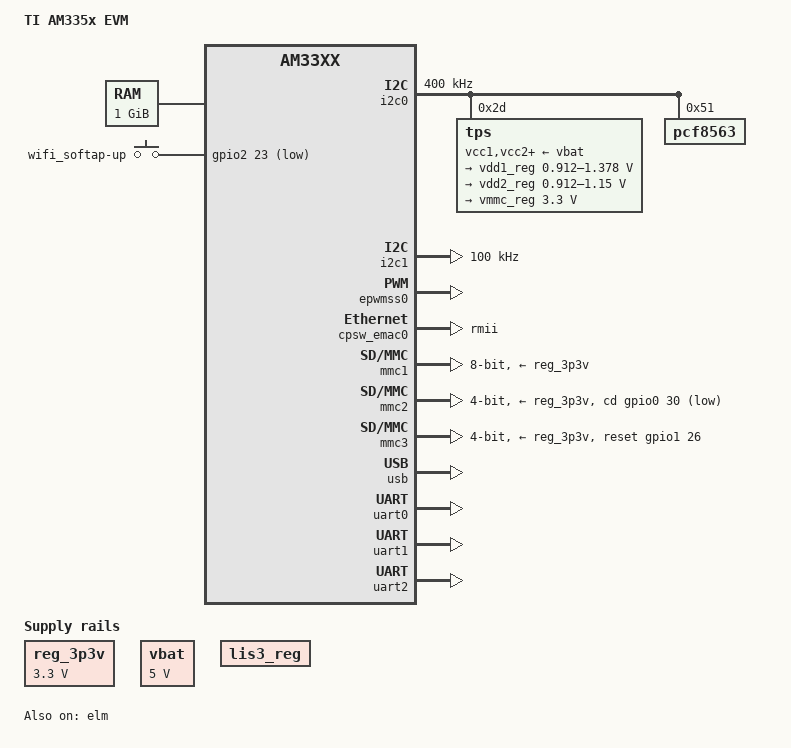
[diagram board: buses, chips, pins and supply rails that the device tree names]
/*
 * Copyright (C) 2012 Texas Instruments Incorporated - http://www.ti.com/
 *
 * This program is free software; you can redistribute it and/or modify
 * it under the terms of the GNU General Public License version 2 as
 * published by the Free Software Foundation.
 */
/dts-v1/;

#include "am33xx.dtsi"

/ {
	model = "TI AM335x EVM";
	compatible = "ti,am335x-evm", "ti,am33xx";

	memory {
		device_type = "memory";
		reg = <0x80000000 0x40000000>; /* 1024MB */
	};

	regulators {
		compatible = "simple-bus";

		reg_3p3v: 3p3v {
			  compatible = "regulator-fixed";
			  regulator-name = "reg_3p3v";
			  regulator-min-microvolt = <3300000>;
			  regulator-max-microvolt = <3300000>;
			  regulator-always-on;
		};
	};	

	am33xx_pinmux: pinmux@44e10800 {
		pinctrl-names = "default";
		pinctrl-0 = <&user_gpios &wifi_sw_ap_key &clkout2_pin>;

        user_gpios: user_gpios {
            pinctrl-single,pins = < 
                0xE0  (PIN_OUTPUT_PULLDOWN | MUX_MODE7)  /* lcd_vsync.gpio2_22 : WIFI_LED   */
                0x6C  (PIN_INPUT_PULLDOWN  | MUX_MODE7)  /* gpmc_a11.gpio1_27  : CPU_SUB1GHZ_GPIO */
                0x168 (PIN_OUTPUT_PULLUP   | MUX_MODE7)  /* uart0_ctsn.gpio1_8 : SUB1GHZ_RST */
 				0x40  (PIN_OUTPUT_PULLUP   | MUX_MODE7)  /* gpmc_a0.gpio1_16   : ZB_RESET  */
            >;
        };

		wifi_sw_ap_key: wifi_sw_ap_key {
			pinctrl-single,pins = <
                0xE4  (PIN_INPUT_PULLDOWN  | MUX_MODE7)  /* lcd_hsync.gpio2_23 : WIFI_SW_AP */
			>;
		};

        i2c0_pins: pinmux_i2c0_pins {
			pinctrl-single,pins = <
				0x188 (PIN_INPUT_PULLUP | MUX_MODE0)	/* i2c0_sda.i2c0_sda */
				0x18c (PIN_INPUT_PULLUP | MUX_MODE0)	/* i2c0_scl.i2c0_scl */
			>;
		};

		i2c1_pins: pinmux_i2c1_pins {
			pinctrl-single,pins = <
				0x158 (PIN_INPUT_PULLUP | MUX_MODE2)	/* spi0_d1.i2c1_sda */
				0x15c (PIN_INPUT_PULLUP | MUX_MODE2)	/* spi0_cs0.i2c1_scl */
			>;
		};

		uart0_pins: pinmux_uart0_pins {
			pinctrl-single,pins = <
				0x170 (PIN_INPUT_PULLUP    | MUX_MODE0)	/* uart0_rxd.uart0_rxd */
				0x174 (PIN_OUTPUT          | MUX_MODE0)	/* uart0_txd.uart0_txd */
			>;
		};

		uart1_pins: pinmux_uart1_pins {
			pinctrl-single,pins = <
				0x180 (PIN_INPUT_PULLUP    | MUX_MODE0)	/* uart1_rxd.uart1_rxd */
				0x184 (PIN_OUTPUT          | MUX_MODE0) /* uart1_txd.uart1_txd */
			>;
		};
		uart2_pins: pinmux_uart2_pins {
			pinctrl-single,pins = <
				0x150 (PIN_INPUT_PULLUP    | MUX_MODE1)	/* spi0_sclk.uart2_rxd */
				0x154 (PIN_OUTPUT          | MUX_MODE1) /* spi0_d0.uart2_txd */
			>;
		};

		uart3_pins: pinmux_uart3_pins {
			pinctrl-single,pins = <
				0x160 (PIN_INPUT_PULLUP    | MUX_MODE1)	/* spi0_cs1.uart3_rxd */
				0x164 (PIN_OUTPUT          | MUX_MODE1) /* ecap0_in_pwm0_out.uart3_txd */
			>;
		};

		uart4_pins: pinmux_uart4_pins {
			pinctrl-single,pins = <
				0x64  (PIN_OUTPUT_PULLDOWN | MUX_MODE7)	/* gpmc_a9.gpio1_25 : RTS */
				0x11C (PIN_INPUT_PULLUP    | MUX_MODE3)	/* mii1_txd3.uart4_rxd */
				0x120 (PIN_OUTPUT          | MUX_MODE3) /* mii1_txd2.uart4_txd */
			>;
		};

		uart5_pins: pinmux_uart5_pins {
			pinctrl-single,pins = <
				0x108 (PIN_INPUT_PULLUP    | MUX_MODE3)	/* mii1_col.uart5_rxd */
				0x118 (PIN_OUTPUT          | MUX_MODE3) /* mii1_rx_dv.uart5_txd */
			>;
		};

		clkout2_pin: pinmux_clkout2_pin {
			pinctrl-single,pins = <
				0x1b4 (PIN_OUTPUT_PULLDOWN | MUX_MODE3)	/* xdma_event_intr1.clkout2 */
			>;
		};

		nandflash_pins_s0: nandflash_pins_s0 {
			pinctrl-single,pins = <
				0x0 (PIN_INPUT_PULLUP  | MUX_MODE0)	/* gpmc_ad0.gpmc_ad0 */
				0x4 (PIN_INPUT_PULLUP  | MUX_MODE0)	/* gpmc_ad1.gpmc_ad1 */
				0x8 (PIN_INPUT_PULLUP  | MUX_MODE0)	/* gpmc_ad2.gpmc_ad2 */
				0xc (PIN_INPUT_PULLUP  | MUX_MODE0)	/* gpmc_ad3.gpmc_ad3 */
				0x10 (PIN_INPUT_PULLUP | MUX_MODE0)	/* gpmc_ad4.gpmc_ad4 */
				0x14 (PIN_INPUT_PULLUP | MUX_MODE0)	/* gpmc_ad5.gpmc_ad5 */
				0x18 (PIN_INPUT_PULLUP | MUX_MODE0)	/* gpmc_ad6.gpmc_ad6 */
				0x1c (PIN_INPUT_PULLUP | MUX_MODE0)	/* gpmc_ad7.gpmc_ad7 */
				0x70 (PIN_INPUT_PULLUP | MUX_MODE0)	/* gpmc_wait0.gpmc_wait0 */
				0x74 (PIN_INPUT_PULLUP | MUX_MODE7)	/* gpmc_wpn.gpio0_30 */
				0x7c (PIN_OUTPUT       | MUX_MODE0)	/* gpmc_csn0.gpmc_csn0  */
				0x90 (PIN_OUTPUT       | MUX_MODE0)	/* gpmc_advn_ale.gpmc_advn_ale */
				0x94 (PIN_OUTPUT       | MUX_MODE0)	/* gpmc_oen_ren.gpmc_oen_ren */
				0x98 (PIN_OUTPUT       | MUX_MODE0)	/* gpmc_wen.gpmc_wen */
				0x9c (PIN_OUTPUT       | MUX_MODE0)	/* gpmc_be0n_cle.gpmc_be0n_cle */
			>;
		};

		cpsw_default: cpsw_default {
			pinctrl-single,pins = < 
				/* Slave 1 */
				0x10c (PIN_INPUT_PULLDOWN  | MUX_MODE1) /* mii1_crs.rmii1_crs */
				0x110 (PIN_INPUT_PULLUP    | MUX_MODE1) /* mii1_rxerr.rmii1_rxerr */
				0x114 (PIN_OUTPUT_PULLDOWN | MUX_MODE1) /* mii1_txen.rmii1_txen */
				0x124 (PIN_OUTPUT_PULLDOWN | MUX_MODE1) /* mii1_txd1.rmii1_txd1 */
				0x128 (PIN_OUTPUT_PULLDOWN | MUX_MODE1) /* mii1_txd0.rmii1_txd0 */
				0x13c (PIN_INPUT_PULLUP    | MUX_MODE1) /* mii1_rxd1.rmii1_rxd1 */
				0x140 (PIN_INPUT_PULLUP    | MUX_MODE1) /* mii1_rxd0.rmii1_rxd0 */
				0x144 (PIN_INPUT_PULLDOWN  | MUX_MODE0) /* rmii1_ref_clk.rmii_ref_clk */
				0x78  (PIN_OUTPUT_PULLUP   | MUX_MODE7) /* gpmc_ben1.gpio1_28 : RESET */
			>;
		};

		cpsw_sleep: cpsw_sleep {
			pinctrl-single,pins = < 
				/* Slave 1 reset value */
				0x10c (PIN_INPUT_PULLDOWN | MUX_MODE7)
				0x110 (PIN_INPUT_PULLDOWN | MUX_MODE7)
				0x114 (PIN_INPUT_PULLDOWN | MUX_MODE7)
				0x118 (PIN_INPUT_PULLDOWN | MUX_MODE7)
				0x124 (PIN_INPUT_PULLDOWN | MUX_MODE7)
				0x128 (PIN_INPUT_PULLDOWN | MUX_MODE7)
				0x13c (PIN_INPUT_PULLDOWN | MUX_MODE7)
				0x140 (PIN_INPUT_PULLDOWN | MUX_MODE7)
				0x144 (PIN_INPUT_PULLDOWN | MUX_MODE7)
				0x78  (PIN_INPUT_PULLDOWN | MUX_MODE7)
			>;
		};

		davinci_mdio_default: davinci_mdio_default {
			pinctrl-single,pins = <
				/* MDIO */
				0x148 (PIN_INPUT_PULLUP  | SLEWCTRL_FAST | MUX_MODE0)	/* mdio_data.mdio_data */
				0x14c (PIN_OUTPUT_PULLUP | MUX_MODE0)			        /* mdio_clk.mdio_clk   */
			>;
		};

		davinci_mdio_sleep: davinci_mdio_sleep {
			pinctrl-single,pins = <
				/* MDIO reset value */
				0x148 (PIN_INPUT_PULLDOWN | MUX_MODE7)
				0x14c (PIN_INPUT_PULLDOWN | MUX_MODE7)
			>;
		};

		mmc1_pins_default: pinmux_mmc1_pins {
			pinctrl-single,pins = <
				0x0F0 (PIN_INPUT_PULLUP | MUX_MODE0)    /* mmc0_dat3.mmc0_dat3 */
				0x0F4 (PIN_INPUT_PULLUP | MUX_MODE0)    /* mmc0_dat2.mmc0_dat2 */
				0x0F8 (PIN_INPUT_PULLUP | MUX_MODE0)    /* mmc0_dat1.mmc0_dat1 */
				0x0FC (PIN_INPUT_PULLUP | MUX_MODE0)    /* mmc0_dat0.mmc0_dat0 */
				0x100 (PIN_INPUT_PULLUP | MUX_MODE0)    /* mmc0_clk.mmc0_clk */
				0x104 (PIN_INPUT_PULLUP | MUX_MODE0)    /* mmc0_cmd.mmc0_cmd */
				0x190 (PIN_INPUT_PULLUP | MUX_MODE7) 	/* mcasp0_aclkx.gpio3_14 */
			>;
		};

		mmc1_pins_sleep: pinmux_mmc1_pins_sleep {
			pinctrl-single,pins = <
				0x0F0 (PIN_INPUT_PULLDOWN | MUX_MODE7)
				0x0F4 (PIN_INPUT_PULLDOWN | MUX_MODE7)
				0x0F8 (PIN_INPUT_PULLDOWN | MUX_MODE7)
				0x0FC (PIN_INPUT_PULLDOWN | MUX_MODE7)
				0x100 (PIN_INPUT_PULLDOWN | MUX_MODE7)
				0x104 (PIN_INPUT_PULLUP   | MUX_MODE7)    /* mmc0_cmd.mmc0_cmd */
				0x190 (PIN_INPUT_PULLDOWN | MUX_MODE7)
			>;
		};

		mmc2_pins_default: pinmux_mmc2_pins {
			pinctrl-single,pins = <
				0x000 (PIN_INPUT_PULLUP | MUX_MODE1)    /* GPMC_AD0.mmc1_dat0 */
				0x004 (PIN_INPUT_PULLUP | MUX_MODE1)    /* GPMC_AD1.mmc1_dat1 */
				0x008 (PIN_INPUT_PULLUP | MUX_MODE1)    /* GPMC_AD2.mmc1_dat2 */
				0x00c (PIN_INPUT_PULLUP | MUX_MODE1)    /* GPMC_AD3.mmc1_dat3 */
				0x080 (PIN_INPUT_PULLUP | MUX_MODE2)    /* GPMC_CSn1.mmc1_clk */
				0x084 (PIN_INPUT_PULLUP | MUX_MODE2)    /* GPMC_CSn2.mmc1_cmd */
				0x070 (PIN_INPUT        | MUX_MODE7)    /* GPMC_WAIT0.gpio0_30 */
			>;
		};

		mmc2_pins_sleep: pinmux_mmc2_pins_sleep {
			pinctrl-single,pins = <
				0x000 (PIN_INPUT_PULLDOWN | MUX_MODE7)
				0x004 (PIN_INPUT_PULLDOWN | MUX_MODE7)
				0x008 (PIN_INPUT_PULLDOWN | MUX_MODE7)
				0x00c (PIN_INPUT_PULLDOWN | MUX_MODE7)
				0x080 (PIN_INPUT_PULLDOWN | MUX_MODE7)
				0x084 (PIN_INPUT_PULLDOWN | MUX_MODE7)
			>;
		};

		mmc3_pins_default: pinmux_mmc3_pins {
			pinctrl-single,pins = <
				0x030 (PIN_INPUT_PULLUP | MUX_MODE3)    /* GPMC_AD12.mmc2_dat0 */
				0x034 (PIN_INPUT_PULLUP | MUX_MODE3)    /* GPMC_AD13.mmc2_dat1 */
				0x038 (PIN_INPUT_PULLUP | MUX_MODE3)    /* GPMC_AD14.mmc2_dat2 */
				0x03C (PIN_INPUT_PULLUP | MUX_MODE3)    /* GPMC_AD15.mmc2_dat3 */
				0x088 (PIN_INPUT_PULLUP | MUX_MODE3)    /* GPMC_CSn3.mmc2_cmd */
				0x08C (PIN_INPUT_PULLUP | MUX_MODE3)    /* GPMC_CLK.mmc2_clk */
			>;
		};

		mmc3_pins_sleep: pinmux_mmc3_pins_sleep {
			pinctrl-single,pins = <
				0x030 (PIN_INPUT_PULLUP | MUX_MODE7)    /* GPMC_AD12.mmc2_dat0 */
				0x034 (PIN_INPUT_PULLUP | MUX_MODE7)    /* GPMC_AD13.mmc2_dat1 */
				0x038 (PIN_INPUT_PULLUP | MUX_MODE7)    /* GPMC_AD14.mmc2_dat2 */
				0x03C (PIN_INPUT_PULLUP | MUX_MODE7)    /* GPMC_AD15.mmc2_dat3 */
				0x088 (PIN_INPUT_PULLUP | MUX_MODE7)    /* GPMC_CSn3.mmc2_cmd */
				0x08C (PIN_INPUT_PULLUP | MUX_MODE7)    /* GPMC_CLK.mmc2_clk */
			>;
		};

		/* Wlan Reset GPIO. */
		wlan_pins_default: pinmux_wlan_pins_default {
			pinctrl-single,pins = <
				0x068 (PIN_OUTPUT_PULLUP   | MUX_MODE7)  /* GPMC_A10.gpio1_26*/
			>;
		};

		wlan_pins_sleep: pinmux_wlan_pins_sleep {
			pinctrl-single,pins = <
				0x068 (PIN_OUTPUT_PULLDOWN   | MUX_MODE7)  /* GPMC_A10.gpio1_26*/
				>;
		};
	};

	ocp {
		vbat: fixedregulator@0 {
			compatible = "regulator-fixed";
			regulator-name = "vbat";
			regulator-min-microvolt = <5000000>;
			regulator-max-microvolt = <5000000>;
			regulator-boot-on;
		};

		lis3_reg: fixedregulator@1 {
			compatible = "regulator-fixed";
			regulator-name = "lis3_reg";
			regulator-boot-on;
		};

		gpio_keys: volume_keys@0 {
			compatible = "gpio-keys";
			#address-cells = <1>;
			#size-cells = <0>;
			autorepeat;

			switch@0 {
				label = "wifi_softap-up";
				linux,code = <115>;
				gpios = <&gpio2 23 GPIO_ACTIVE_LOW>;
				gpio-key,wakeup;
			};
		};
	};
};

/*
&i2c0 {
	pinctrl-names = "default";
	pinctrl-0 = <&i2c0_pins>;
	status = "okay";
	clock-frequency = <400000>;

	pcf8563: rtc@51 {
		compatible = "pcf8563";
		reg = <0x51>;
	};            
};
*/

&i2c0 {
    pinctrl-names = "default";
    pinctrl-0 = <&i2c0_pins>;
    status = "okay";
    clock-frequency = <400000>;

    tps: tps@2d {
        reg = <0x2d>;
    };  

    pcf8563: rtc@51 {
        compatible = "pcf8563";
        reg = <0x51>;
    };    
};

&i2c1 {
	pinctrl-names = "default";
	pinctrl-0 = <&i2c1_pins>;
	status = "okay";
	clock-frequency = <100000>;
};

&elm {
	status = "okay";
};

&epwmss0 {
	status = "okay";
};

&mac {
	slaves = <1>;
	pinctrl-names = "default", "sleep";
	pinctrl-0 = <&cpsw_default>;
	pinctrl-1 = <&cpsw_sleep>;
};

&davinci_mdio {
	pinctrl-names = "default", "sleep";
	pinctrl-0 = <&davinci_mdio_default>;
	pinctrl-1 = <&davinci_mdio_sleep>;
};

&cpsw_emac0 {
	phy_id = <&davinci_mdio>, <0>;
	phy-mode = "rmii";
};

&phy_sel {
    rmii-clock-ext;
};

&mmc1 {
	status = "okay";
	vmmc-supply = <&reg_3p3v>;
/*	vmmc-supply = <&vmmc_reg>;	*/
	bus-width = <8>;
	pinctrl-names = "default";
	pinctrl-0 = <&mmc1_pins_default>;
	ti,vcc-aux-disable-is-sleep;
	keep-power-in-suspend;
};

&mmc2 {
	status = "okay";
	vmmc-supply = <&reg_3p3v>;
/*	vmmc-supply = <&vmmc_reg>;	*/
	bus-width = <4>;
	pinctrl-names = "default";
	pinctrl-0 = <&mmc2_pins_default>;
	pinctrl-1 = <&mmc2_pins_sleep>;
	cd-gpios = <&gpio0 30 GPIO_ACTIVE_HIGH>;
	cd-inverted;
	ti,vcc-aux-disable-is-sleep;
	keep-power-in-suspend;
};

&mmc3 {
	status = "okay";
	vmmc-supply = <&reg_3p3v>; 
/*	vmmc-supply = <&vmmc_reg>;	*/

	dmas = <&edma 12
			&edma 13>;
	dma-names = "tx", "rx";
	bus-width = <4>;
	pinctrl-names = "default", "sleep";
	pinctrl-0 = <&mmc3_pins_default &wlan_pins_default>;
	pinctrl-1 = <&mmc3_pins_sleep &wlan_pins_sleep>;
	reset-gpio = <&gpio1 26 GPIO_ACTIVE_HIGH>;
	enable-active-high;
	ti,non-removable;
	ti,needs-special-hs-handling;
	cap-power-off-card;
/*	ti,vcc-aux-disable-is-sleep;	*/
	keep-power-in-suspend;
};

&usb {
    status = "okay";

    control@44e10620 {
        status = "okay";
    };  

    usb-phy@47401300 {
        status = "okay";
    };  

    usb-phy@47401b00 {
        status = "okay";
    };  

    usb@47401000 {
        status = "okay";
        dr_mode = "host";
    };  

    usb@47401800 {
        status = "okay";
        dr_mode = "host";
    };  

    dma-controller@47402000  {
        status = "okay";
    };  
};

&uart0 {
	pinctrl-names = "default";
	pinctrl-0 = <&uart0_pins>;
	status = "okay";
};

&uart1 {
	pinctrl-names = "default";
	pinctrl-0 = <&uart1_pins>;
	status = "okay";
};

&uart2 {
	pinctrl-names = "default";
	pinctrl-0 = <&uart2_pins>;
	status = "okay";
};

/*
&wkup_m3 {
	ti,scale-data-fw = "am335x-evm-scale-data.bin";
};
*/

&edma {
	ti,edma-xbar-event-map = /bits/ 16 <1 12
				                      2 13>;
};

#include "tps65910.dtsi"

&tps {
	vcc1-supply = <&vbat>;
	vcc2-supply = <&vbat>;
	vcc3-supply = <&vbat>;
	vcc4-supply = <&vbat>;
	vcc5-supply = <&vbat>;
	vcc6-supply = <&vbat>;
	vcc7-supply = <&vbat>;
	vccio-supply = <&vbat>;

	regulators {
		vrtc_reg: regulator@0 {
			regulator-always-on;
		};

		vio_reg: regulator@1 {
			regulator-always-on;
		};

		vdd1_reg: regulator@2 {
			/* VDD_MPU voltage limits 0.95V - 1.325V with +/-4% tolerance */
			regulator-name = "vdd_mpu";
			regulator-min-microvolt = <912500>;
			regulator-max-microvolt = <1378000>;
			regulator-boot-on;
			regulator-always-on;
		};

		vdd2_reg: regulator@3 {
			/* VDD_CORE voltage limits 0.95V - 1.1V with +/-4% tolerance */
			regulator-name = "vdd_core";
			regulator-min-microvolt = <912500>;
			regulator-max-microvolt = <1150000>;
			regulator-boot-on;
			regulator-always-on;
		};

		vdd3_reg: regulator@4 {
			regulator-always-on;
		};

		vdig1_reg: regulator@5 {
			regulator-always-on;
		};

		vdig2_reg: regulator@6 {
			regulator-always-on;
		};

		vpll_reg: regulator@7 {
			regulator-always-on;
		};

		vdac_reg: regulator@8 {
			regulator-always-on;
		};

		vaux1_reg: regulator@9 {
			regulator-always-on;
		};

		vaux2_reg: regulator@10 {
			regulator-always-on;
		};

		vaux33_reg: regulator@11 {
			regulator-always-on;
		};

		vmmc_reg: regulator@12 {
			regulator-min-microvolt = <3300000>;
			regulator-max-microvolt = <3300000>;
			regulator-always-on;
		};
	};
};


